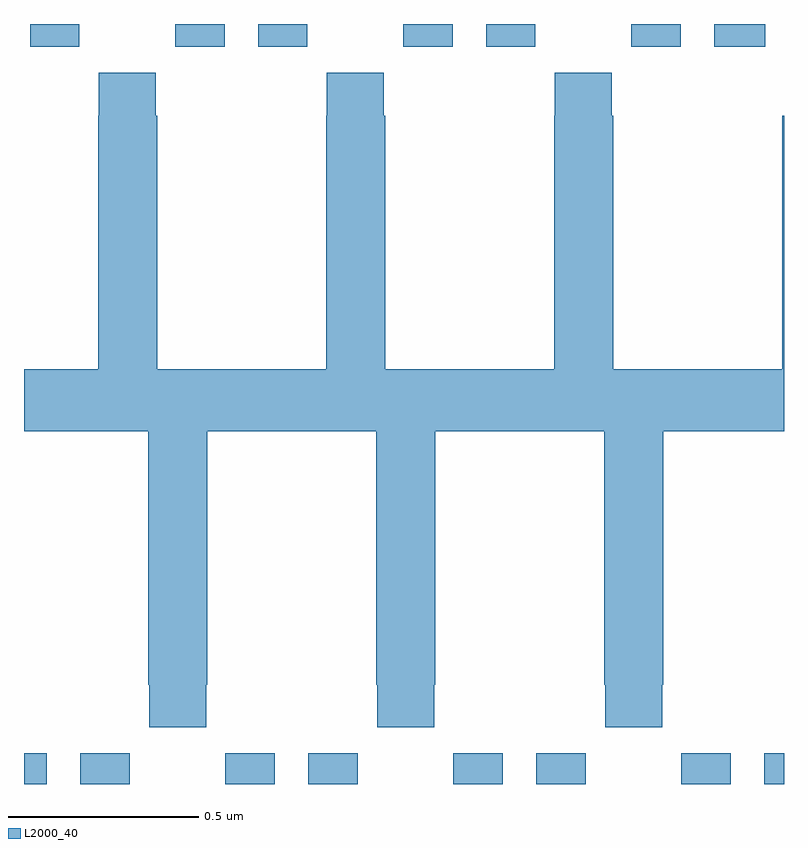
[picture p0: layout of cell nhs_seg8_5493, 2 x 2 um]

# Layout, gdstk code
import gdstk
lib = gdstk.Library(unit=1e-6, precision=1e-09)
def R(c, l, rs):  # rectangles x0, y0, x1, y1
    for r in rs: c.add(gdstk.rectangle(r[:2], r[2:], *l))
def P(c, l, *ps):  # polygons
    for p in ps: c.add(gdstk.Polygon(p, *l))
L2000_40 = (2000, 40)

nhs_seg8_5493 = lib.new_cell('nhs_seg8_5493')
R(nhs_seg8_5493, L2000_40, [(184,1120.9,184.06,1120.981), (184.148,1120.9,184.278,1120.981), (184.53,1120.9,184.66,1120.981), (184.748,1120.9,184.878,1120.981), (185.13,1120.9,185.26,1120.981), (185.348,1120.9,185.478,1120.981), (185.73,1120.9,185.86,1120.981), (185.948,1120.9,186,1120.981), (184.016,1122.84,184.146,1122.9), (184.398,1122.84,184.528,1122.9), (184.616,1122.84,184.746,1122.9), (184.998,1122.84,185.128,1122.9), (185.216,1122.84,185.346,1122.9), (185.598,1122.84,185.728,1122.9), (185.816,1122.84,185.95,1122.9)])
P(nhs_seg8_5493, L2000_40, [(184.479,1121.161),(184.482,1121.161),(184.482,1121.828),(184.927,1121.828),(184.927,1121.161),(184.929,1121.161),(184.929,1121.049),(185.079,1121.049),(185.079,1121.161),(185.082,1121.161),(185.082,1121.828),(185.527,1121.828),(185.527,1121.161),(185.529,1121.161),(185.529,1121.049),(185.679,1121.049),(185.679,1121.161),(185.682,1121.161),(185.682,1121.828),(186,1121.828),(186,1122.659),(185.995,1122.659),(185.995,1121.992),(185.55,1121.992),(185.55,1122.659),(185.547,1122.659),(185.547,1122.772),(185.397,1122.772),(185.397,1122.659),(185.395,1122.659),(185.395,1121.992),(184.95,1121.992),(184.95,1122.659),(184.947,1122.659),(184.947,1122.772),(184.797,1122.772),(184.797,1122.659),(184.795,1122.659),(184.795,1121.992),(184.35,1121.992),(184.35,1122.659),(184.347,1122.659),(184.347,1122.772),(184.197,1122.772),(184.197,1122.659),(184.195,1122.659),(184.195,1121.992),(184,1121.992),(184,1121.828),(184.327,1121.828),(184.327,1121.161),(184.329,1121.161),(184.329,1121.049),(184.479,1121.049)])

lib.write_gds('nhs_seg8_5493.gds')
